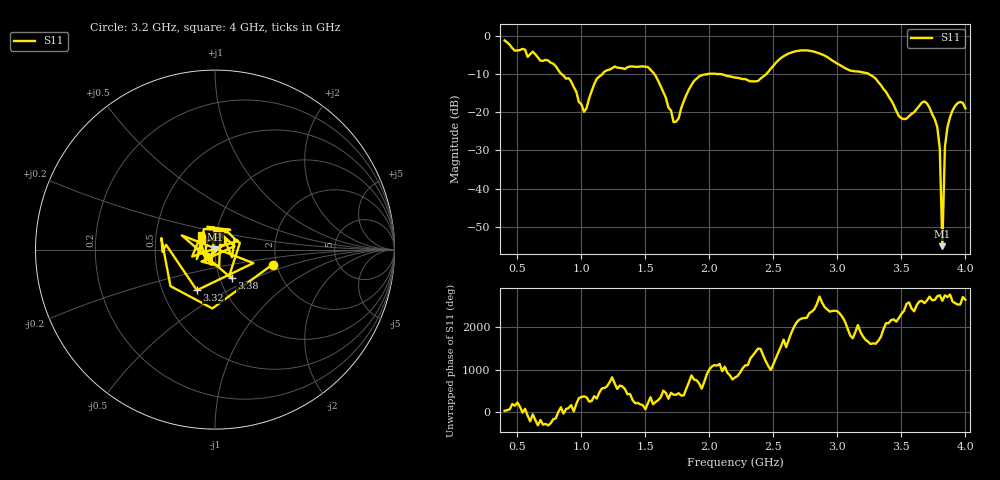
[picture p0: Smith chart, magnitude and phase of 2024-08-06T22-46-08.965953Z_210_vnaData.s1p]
!Created with skrf (http://scikit-rf.org).
# Hz S RI R 50.0
!freq ReS11 ImS11
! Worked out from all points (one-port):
!   181 points, 400 MHz to 4 GHz, reference 50 ohm
!   lowest |S11| = -55.0 dB at 3.82 GHz (marker M1), VSWR 1.00, Z = 49.9 + j0.168 ohm
!   |S11| at or under -10 dB: 1.569 GHz to 1.989 GHz (419.5 MHz wide, 23.6 % of centre); 2.082 GHz to 2.444 GHz (362.2 MHz wide, 16 % of centre); 3.246 GHz to end of sweep (the widest 3 of 5)
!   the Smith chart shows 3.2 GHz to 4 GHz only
!   S11 on the Smith chart (normalised r, x): 3.2 GHz: 1.90, -0.35; 3.32 GHz: 0.74, -0.36; 3.38 GHz: 1.14, -0.38; 4 GHz: 0.85, +0.14
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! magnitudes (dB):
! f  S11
! 400 MHz  -1.2
! 860 MHz  -10.4
! 1.02 GHz  -19.9
! 1.12 GHz  -11.2
! 1.3 GHz  -8.4
! 1.52 GHz  -8.2
! 1.62 GHz  -13.2
! 1.72 GHz  -22.6
! 1.76 GHz  -21.6
! 1.84 GHz  -14.0
! 1.92 GHz  -10.6
! 2.2 GHz  -10.9
! 2.38 GHz  -11.8
! 2.66 GHz  -4.1
! 3.1 GHz  -9.1
! 3.2 GHz  -9.6
! 3.32 GHz  -12.1
! 3.38 GHz  -14.7
! 3.48 GHz  -21.0
! 3.56 GHz  -21.0
! 3.68 GHz  -17.2
! 3.78 GHz  -23.8
! 3.8 GHz  -29.4
! 3.82 GHz  -55.0
! 3.84 GHz  -29.1
! 3.86 GHz  -23.9
! 3.94 GHz  -17.6
! 4 GHz  -19.0
